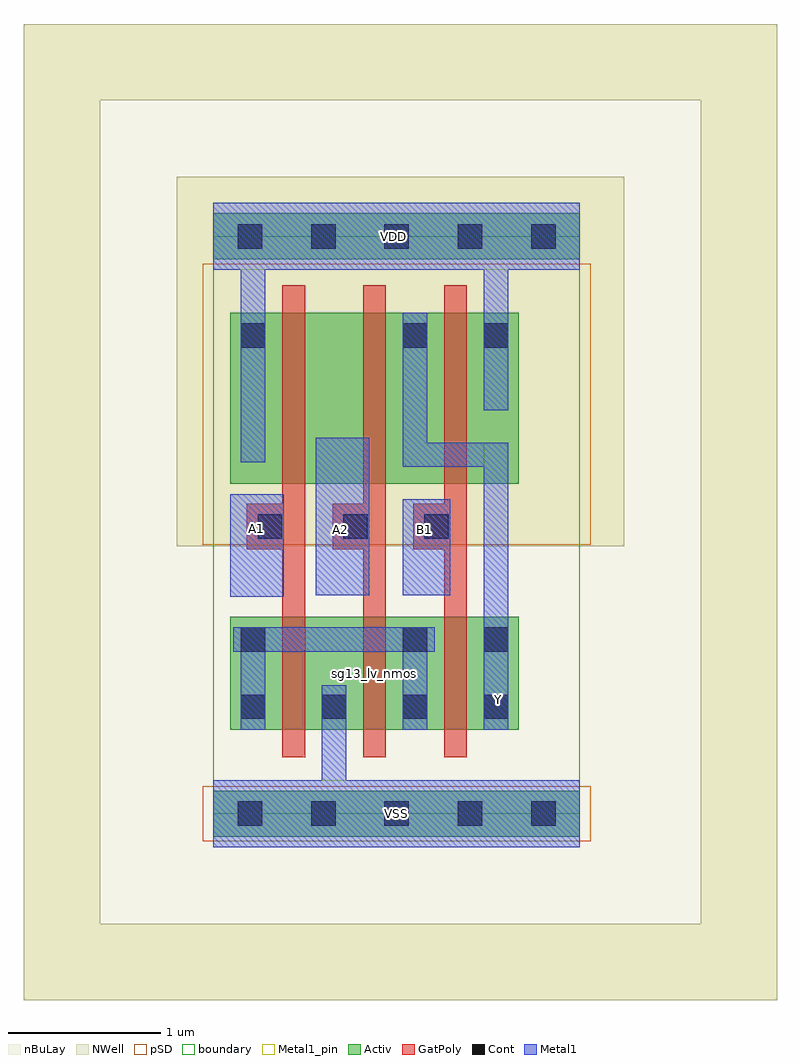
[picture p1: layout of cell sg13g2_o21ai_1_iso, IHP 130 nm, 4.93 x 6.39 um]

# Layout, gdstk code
import gdstk
lib = gdstk.Library(unit=1e-6, precision=1e-09)
def R(c, l, rs):  # rectangles x0, y0, x1, y1
    for r in rs: c.add(gdstk.rectangle(r[:2], r[2:], *l))
def A(c, l, x, y, w, h, nx, ny, dx, dy):  # array of equal rectangles
    R(c, l, [(x+i*dx, y+j*dy, x+i*dx+w, y+j*dy+h) for i in range(nx) for j in range(ny)])
def P(c, l, *ps):  # polygons
    for p in ps: c.add(gdstk.Polygon(p, *l))
Activ = (1, 0)
GatPoly = (5, 0)
Cont = (6, 0)
Metal1 = (8, 0)
Metal1_pin = (8, 2)
pSD = (14, 0)
NWell = (31, 0)
nBuLay = (32, 0)
boundary = (189, 4)

sg13g2_o21ai_1_iso = lib.new_cell('sg13g2_o21ai_1_iso')
R(sg13g2_o21ai_1_iso, Activ, [(0,-0.15,2.4,0.15), (0.11,0.55,2,1.29), (0.11,2.16,2,3.28), (0,3.63,2.4,3.93)])
A(sg13g2_o21ai_1_iso, GatPoly, 0.45, 0.37, 0.15, 1.1, 3, 1, 0.53, 0)
A(sg13g2_o21ai_1_iso, GatPoly, 0.45, 1.47, 0.15, 1.99, 3, 1, 0.53, 0)
R(sg13g2_o21ai_1_iso, GatPoly, [(0.22,1.73,0.52,2.03), (0.78,1.73,1.05,2.03), (1.31,1.73,1.58,2.03)])
A(sg13g2_o21ai_1_iso, Cont, 0.16, -0.08, 0.16, 0.16, 5, 2, 0.48, 3.78)
A(sg13g2_o21ai_1_iso, Cont, 0.18, 0.62, 0.16, 0.16, 4, 1, 0.53, 0)
R(sg13g2_o21ai_1_iso, Cont, [(0.18,1.06,0.34,1.22), (1.24,1.06,1.4,1.22), (1.77,1.06,1.93,1.22), (0.29,1.8,0.45,1.96), (0.85,1.8,1.01,1.96), (1.38,1.8,1.54,1.96), (0.18,3.05,0.34,3.21), (1.24,3.05,1.4,3.21), (1.77,3.05,1.93,3.21)])
R(sg13g2_o21ai_1_iso, Metal1, [(0,-0.22,2.4,0.22), (0.71,0.22,0.87,0.84), (0.18,0.55,0.34,1.22), (1.24,0.55,1.4,1.22), (1.77,0.55,1.93,2.43), (0.13,1.06,1.45,1.22), (0.11,1.42,0.46,2.09), (0.67,1.43,1.02,2.46), (1.24,1.43,1.55,2.06), (1.24,2.27,1.4,3.28), (1.4,2.27,1.77,2.43), (0.18,2.3,0.34,3.56), (1.77,2.64,1.93,3.56), (0,3.56,2.4,4)])
R(sg13g2_o21ai_1_iso, Metal1_pin, [(0,-0.22,2.4,0.22), (1.77,0.55,1.93,2.43), (0.11,1.42,0.46,2.09), (0.67,1.43,1.02,2.46), (1.24,1.43,1.55,2.06), (0,3.56,2.4,4)])
R(sg13g2_o21ai_1_iso, pSD, [(-0.07,-0.18,2.47,0.18), (-0.07,1.76,2.47,3.6)])
R(sg13g2_o21ai_1_iso, NWell, [(-1.24,-1.22,3.69,-0.72), (-1.24,-0.72,-0.74,4.67), (3.19,-0.72,3.69,4.67), (-0.24,1.75,2.69,4.17), (-1.24,4.67,3.69,5.17)])
P(sg13g2_o21ai_1_iso, nBuLay, [(3.69,5.17),(-1.24,5.17),(-1.24,3.63),(0,3.63),(0,3.93),(2.4,3.93),(2.4,3.63),(0,3.63),(-1.24,3.63),(-1.24,-1.22),(3.69,-1.22)])
R(sg13g2_o21ai_1_iso, boundary, [(0,0,2.4,3.78)])
sg13g2_o21ai_1_iso.add(gdstk.Label('sg13_lv_nmos', (1.055,0.92), layer=51, texttype=0))
sg13g2_o21ai_1_iso.add(gdstk.Label('sg13_lv_nmos', (0.525,0.92), layer=51, texttype=0))
sg13g2_o21ai_1_iso.add(gdstk.Label('sg13_lv_nmos', (1.585,0.92), layer=51, texttype=0))
sg13g2_o21ai_1_iso.add(gdstk.Label('VSS', (1.2,0), layer=8, texttype=25))
sg13g2_o21ai_1_iso.add(gdstk.Label('VDD', (1.18,3.78), layer=8, texttype=25))
sg13g2_o21ai_1_iso.add(gdstk.Label('Y', (1.865,0.75), layer=8, texttype=25))
sg13g2_o21ai_1_iso.add(gdstk.Label('B1', (1.38,1.86), layer=8, texttype=25))
sg13g2_o21ai_1_iso.add(gdstk.Label('A2', (0.835,1.86), layer=8, texttype=25))
sg13g2_o21ai_1_iso.add(gdstk.Label('A1', (0.285,1.87), layer=8, texttype=25))

lib.write_gds('sg13g2_o21ai_1_iso.gds')
